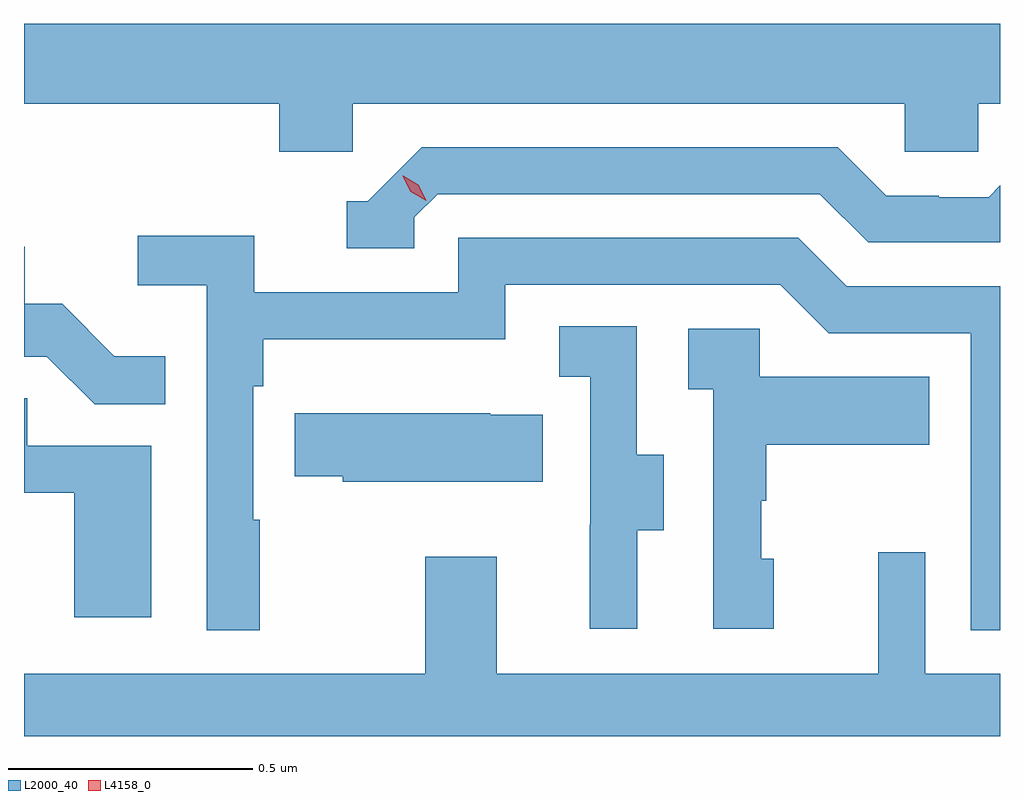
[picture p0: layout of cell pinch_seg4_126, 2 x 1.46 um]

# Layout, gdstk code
import gdstk
lib = gdstk.Library(unit=1e-6, precision=1e-09)
def P(c, l, *ps):  # polygons
    for p in ps: c.add(gdstk.Polygon(p, *l))
L2000_40 = (2000, 40)
L4158_0 = (4158, 0)

pinch_seg4_126 = lib.new_cell('pinch_seg4_126')
P(pinch_seg4_126, L2000_40, [(1020.156,791.492),(1021.287,791.492),(1021.287,791.394),(1021.437,791.394),(1021.437,791.492),(1021.482,791.492),(1021.482,791.656),(1019.482,791.656),(1019.482,791.492),(1020.005,791.492),(1020.005,791.394),(1020.156,791.394)],
  [(1020.282,791.259),(1020.33,791.307),(1021.113,791.307),(1021.212,791.208),(1021.482,791.208),(1021.482,791.325),(1021.459,791.301),(1021.356,791.301),(1021.356,791.304),(1021.249,791.304),(1021.15,791.403),(1020.297,791.403),(1020.186,791.292),(1020.143,791.292),(1020.143,791.196),(1020.282,791.196)],
  [(1019.965,790.64),(1019.952,790.64),(1019.952,790.913),(1019.972,790.913),(1019.972,791.009),(1020.468,791.009),(1020.468,791.121),(1021.032,791.121),(1021.131,791.022),(1021.422,791.022),(1021.422,790.413),(1021.482,790.413),(1021.482,791.118),(1021.168,791.118),(1021.069,791.217),(1020.372,791.217),(1020.372,791.106),(1019.954,791.106),(1019.954,791.222),(1019.715,791.222),(1019.715,791.12),(1019.856,791.12),(1019.856,790.413),(1019.965,790.413)],
  [(1019.771,790.975),(1019.667,790.975),(1019.56,791.082),(1019.484,791.082),(1019.484,791.199),(1019.482,791.199),(1019.482,790.974),(1019.529,790.974),(1019.627,790.876),(1019.771,790.876)],
  [(1020.739,790.618),(1020.793,790.618),(1020.793,790.773),(1020.738,790.773),(1020.738,791.036),(1020.579,791.036),(1020.579,790.933),(1020.642,790.933),(1020.642,790.629),(1020.641,790.629),(1020.641,790.416),(1020.739,790.416)],
  [(1021.018,790.56),(1020.993,790.56),(1020.993,790.679),(1021.003,790.679),(1021.003,790.793),(1021.337,790.793),(1021.337,790.933),(1020.99,790.933),(1020.99,791.031),(1020.843,791.031),(1020.843,790.907),(1020.894,790.907),(1020.894,790.416),(1021.018,790.416)],
  [(1019.743,790.791),(1019.489,790.791),(1019.489,790.889),(1019.482,790.889),(1019.482,790.695),(1019.585,790.695),(1019.585,790.44),(1019.743,790.44)],
  [(1020.545,790.855),(1020.437,790.855),(1020.437,790.858),(1020.037,790.858),(1020.037,790.729),(1020.135,790.729),(1020.135,790.718),(1020.545,790.718)],
  [(1021.482,790.324),(1021.329,790.324),(1021.329,790.573),(1021.232,790.573),(1021.232,790.324),(1020.451,790.324),(1020.451,790.564),(1020.304,790.564),(1020.304,790.324),(1019.482,790.324),(1019.482,790.196),(1021.482,790.196)])
P(pinch_seg4_126, L4158_0, [(1020.306,791.293),(1020.275,791.312),(1020.258,791.344),(1020.258,791.345),(1020.259,791.345),(1020.29,791.326),(1020.306,791.294),(1020.306,791.293)])

lib.write_gds('pinch_seg4_126.gds')
